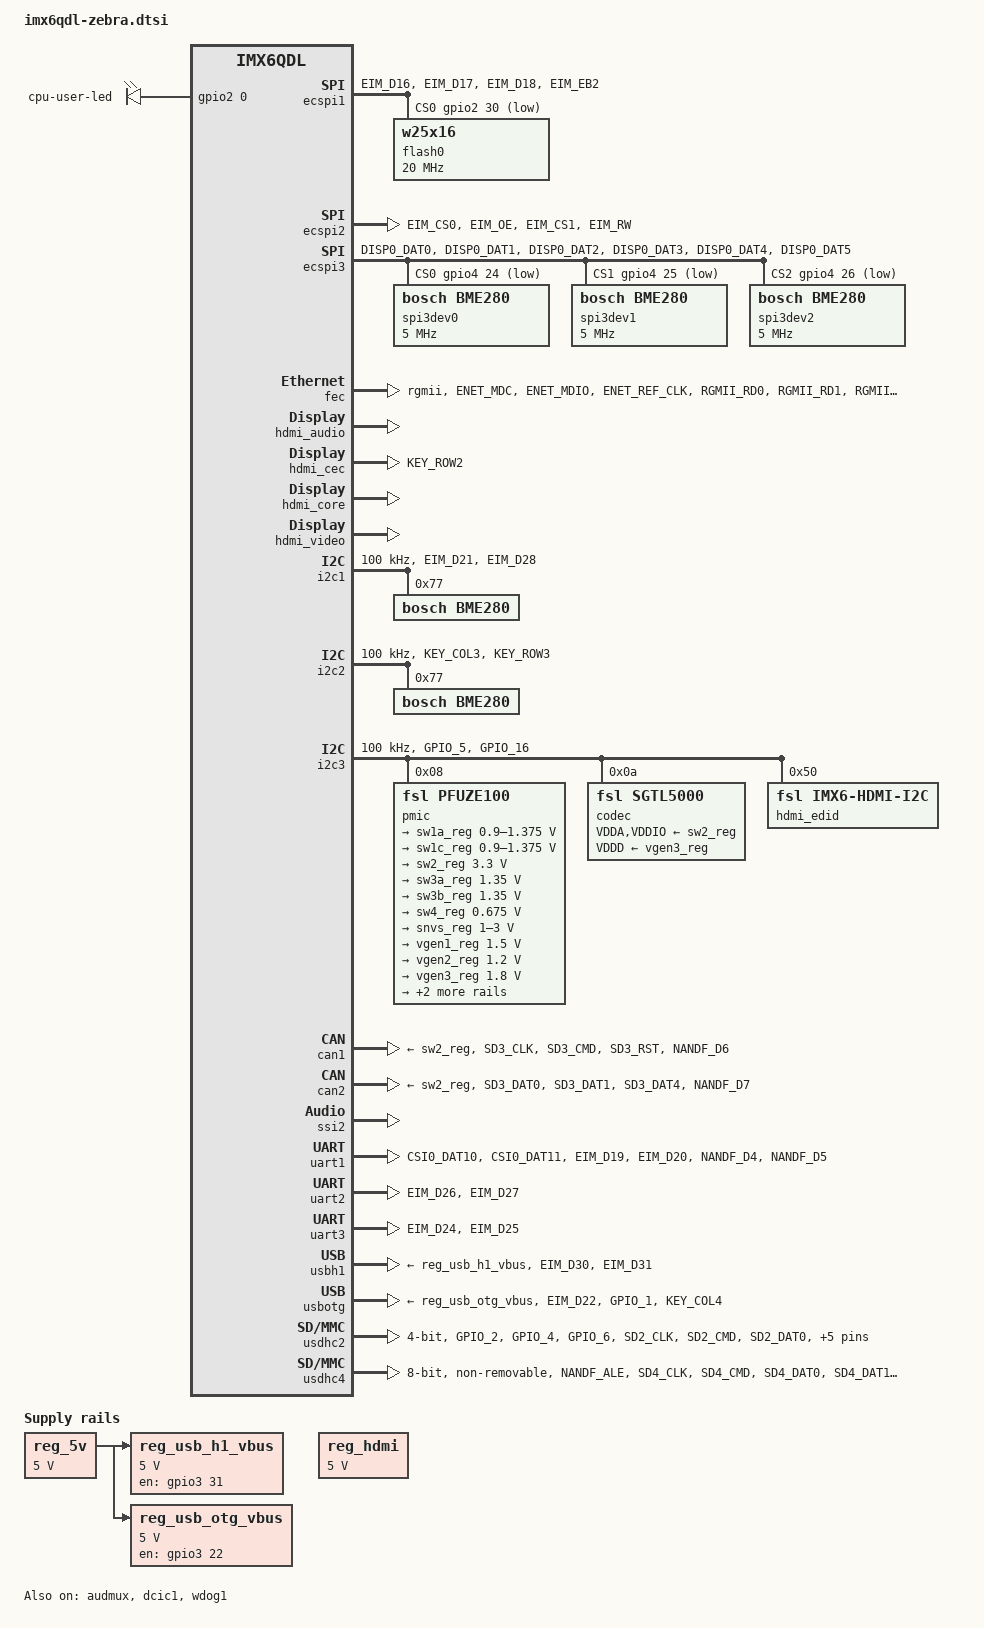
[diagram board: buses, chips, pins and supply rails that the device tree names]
/*
 * Copyright 2012-2016 Freescale Semiconductor, Inc.
 * Copyright 2011 Linaro Ltd.
 *
 * The code contained herein is licensed under the GNU General Public
 * License. You may obtain a copy of the GNU General Public License
 * Version 2 or later at the following locations:
 *
 * http://www.opensource.org/licenses/gpl-license.html
 * http://www.gnu.org/copyleft/gpl.html
 */

#include <dt-bindings/gpio/gpio.h>
#include <dt-bindings/input/input.h>

/ {
	aliases {
		mxcfb0 = &mxcfb1;
                mxcfb1 = &mxcfb2;
	};

	chosen {
		stdout-path = &uart1;
	};

	leds {
		compatible = "gpio-leds";
		cpu-user-led {
			gpios = <&gpio2 0 GPIO_ACTIVE_HIGH>;
			linux,default-trigger = "heartbeat"; /* blink PLED */
			retain-state-suspended;
		};
	};

        regulators {

                compatible = "simple-bus";
                #address-cells = <1>;
                #size-cells = <0>;
  
  
                /* MJ: updates 1/31/18, add a 5V regulator for use as vin-supply for USB and HDMI */
                reg_5v: regulator@0{
                        compatible = "regulator-fixed";
                        reg = <0>;
                        regulator-name = "5V_Supply";
                        regulator-min-microvolt = <5000000>;
                        regulator-max-microvolt = <5000000>;
	  		startup-delay-us = <70000>;
                        regulator-boot-on;
                };
  
                reg_usb_h1_vbus: regulator@1{
                        compatible = "regulator-fixed";
                        reg = <1>;
                        regulator-name = "usb_h1_vbus";
                        regulator-min-microvolt = <5000000>;
                        regulator-max-microvolt = <5000000>;
                        gpio = <&gpio3 31 GPIO_ACTIVE_HIGH>;
                        enable-active-high;
                        vin-supply = <&reg_5v>;
                };
  
                reg_usb_otg_vbus: regulator@2{
                        compatible = "regulator-fixed";
                        reg = <2>;
                        regulator-name = "usb_otg_vbus";
                        regulator-min-microvolt = <5000000>;
                        regulator-max-microvolt = <5000000>;
                        gpio = <&gpio3 22 1>;
                        enable-active-high;
                        vin-supply = <&reg_5v>;
                };
 
                reg_hdmi: regulator@5 {
                        compatible = "regulator-fixed";
                        reg = <5>;
                        regulator-name = "hdmi-5v-supply";
                        regulator-min-microvolt = <5000000>;
                        regulator-max-microvolt = <5000000>;
                        enable-active-high;
                        hdmi-5v-supply = <&reg_5v>;
                };
	};

        sound {
                compatible = "fsl,imx-audio-sgtl5000";
                model = "sgtl5000-audio";
                ssi-controller = <&ssi2>;
                audio-codec = <&codec>;
                audio-routing =
                        "MIC_IN", "Mic Jack",
                        "Mic Jack", "Mic Bias",
                        "Headphone Jack", "HP_OUT";
                mux-int-port = <1>;
                mux-ext-port = <3>;
        };

	sound-hdmi {
		compatible = "fsl,imx6q-audio-hdmi",
			     "fsl,imx-audio-hdmi";
		model = "imx-audio-hdmi";
		hdmi-controller = <&hdmi_audio>;
	};

        mxcfb1: fb@0 {
                compatible = "fsl,mxc_sdc_fb";
                disp_dev = "ldb";
                interface_pix_fmt = "RGB666";
                default_bpp = <16>;
                int_clk = <0>;
                late_init = <0>;
                status = "okay";
        };

        /* HDMI video settings */
        mxcfb2: fb@1 {
                compatible = "fsl,mxc_sdc_fb";
                disp_dev = "hdmi";
                interface_pix_fmt = "RGB24";
                mode_str ="1920x1080M@60";
                default_bpp = <24>;
                int_clk = <0>;
                late_init = <0>;
                status = "okay";
        };

	v4l2_out {
		compatible = "fsl,mxc_v4l2_output";
		status = "okay";
	};

};

&audmux {
	pinctrl-names = "default";
	pinctrl-0 = <&pinctrl_audmux>;
	status = "okay";
};

&cpu0 {
/*
	arm-supply = <&sw1a_reg>;
	soc-supply = <&sw1c_reg>;
*/
};

&ecspi1 {
        fsl,spi-num-chipselects = <1>;
        cs-gpios = <
		&gpio2 30 GPIO_ACTIVE_LOW
		>; 
        pinctrl-names = "default";
        pinctrl-0 = <&pinctrl_ecspi1 &pinctrl_ecspi1_cs>;
        status = "okay";

        flash0: w25x16@0 {
                #address-cells = <1>;
                #size-cells = <1>;
                compatible = "w25x16", "jedec,spi-nor";
                spi-max-frequency = <20000000>;
                reg = <0>;
        };
};

&ecspi2 {
        fsl,spi-num-chipselects = <1>;
        cs-gpios = <
                &gpio2 26 GPIO_ACTIVE_LOW
                >;
        pinctrl-names = "default";
        pinctrl-0 = <&pinctrl_ecspi2 &pinctrl_ecspi2_cs>;
        status = "okay";

	/* test board device */
/*
        mrf24j40ma@0 {
                compatible = "microchip,mrf24j40ma";
                spi-max-frequency = <500000>;
                reg = <0>;
                interrupt-parent = <&gpio5>;
                interrupts = <9 8>;
        };
*/
};

&ecspi3 {

        pinctrl-names = "default";
	fsl,spi-num-chipselects = <3>;
	cs-gpios = <
		&gpio4 24 GPIO_ACTIVE_LOW
		&gpio4 25 GPIO_ACTIVE_LOW
		&gpio4 26 GPIO_ACTIVE_LOW
		>;
        pinctrl-0 = <&pinctrl_ecspi3 &pinctrl_ecspi3_cs>;
        status = "okay";

	/* test board devices */ 
        spi3dev0: spi@0 {
                compatible = "bosch,bme280";
                reg = <0>;
                spi-max-frequency = <5000000>;
        };

        spi3dev1: spi@1 {
                compatible = "bosch,bme280";
                reg = <1>;
                spi-max-frequency = <5000000>;
        };
        spi3dev2: spi@2 {
                compatible = "bosch,bme280";
                reg = <2>;
                spi-max-frequency = <5000000>;
        };
};

&fec {
	pinctrl-names = "default";
	pinctrl-0 = <&pinctrl_enet>;
	phy-mode = "rgmii";
/*
	phy-reset-gpios = <&gpio1 25 GPIO_ACTIVE_LOW>;
	phy-reset-duration = <100>;
*/
	/*fsl,magic-packet;*/
	status = "okay";
        txen-skew-ps = <0>;
        txc-skew-ps = <3000>;
        rxdv-skew-ps = <0>;
        rxc-skew-ps = <3000>;
        rxd0-skew-ps = <0>;
        rxd1-skew-ps = <0>;
        rxd2-skew-ps = <0>;
        rxd3-skew-ps = <0>;
        txd0-skew-ps = <0>;
        txd1-skew-ps = <0>;
        txd2-skew-ps = <0>;
        txd3-skew-ps = <0>;
};

&gpc {
	fsl,ldo-bypass = <1>; /* use ldo-bypass, u-boot will check it and configure */
	fsl,wdog-reset = <2>; /* watchdog select of reset source */
};

&dcic1 {
	dcic_id = <0>;
	dcic_mux = "dcic-hdmi";
	status = "okay";
};

&hdmi_audio {
	status = "okay";
};

&hdmi_cec {
	pinctrl-names = "default";
	pinctrl-0 = <&pinctrl_hdmi_cec>;
	status = "okay";
};

&hdmi_core {
	ipu_id = <0>;
	disp_id = <0>;
	status = "okay";
};

&hdmi_video {
	fsl,phy_reg_vlev = <0x0294>;
	fsl,phy_reg_cksymtx = <0x800d>;
	HDMI-supply = <&reg_hdmi>; /* 5V */
	status = "okay";
};

&i2c1 {
	clock-frequency = <100000>;
	pinctrl-names = "default";
	pinctrl-0 = <&pinctrl_i2c1>;
	status = "okay";

	/* test board device */
        bme280@77 {
                compatible = "bosch,bme280";
                reg = <0x77>;
        };
};

&i2c2 {
	clock-frequency = <100000>;
	pinctrl-names = "default";
	pinctrl-0 = <&pinctrl_i2c2>;
	status = "okay";

	/* test board device */
        bme280@77 {
                compatible = "bosch,bme280";
                reg = <0x77>;
        };

};

&i2c3 {
	clock-frequency = <100000>;
	pinctrl-names = "default";
	pinctrl-0 = <&pinctrl_i2c3>;
	status = "okay";

	pmic: pfuze100@08 {
		compatible = "fsl,pfuze100";
		reg = <0x08>;

           regulators {

                /* SW1AB = V1P375_CORE, sequence #2 */
                sw1a_reg: sw1ab {
                     regulator-min-microvolt = <900000>;
                     regulator-max-microvolt = <1375000>;
                     regulator-boot-on;
                     regulator-always-on;
                };

                /* SW1C = V1P375_SOC, sequence #3 */
                sw1c_reg: sw1c {
                     regulator-min-microvolt = <900000>;
                     regulator-max-microvolt = <1375000>;
                     regulator-boot-on;
                     regulator-always-on;
                };

                /* SW2 = V3P3, sequence #6 */
                sw2_reg: sw2 {
                     regulator-min-microvolt = <3300000>;
                     regulator-max-microvolt = <3300000>;
                     regulator-boot-on;
                     regulator-always-on;
                };

                /* SW3A and SW3B = V1P35_DDR, sequence #4 */
                sw3a_reg: sw3a {
                     regulator-min-microvolt = <1350000>;
                     regulator-max-microvolt = <1350000>;
                     regulator-boot-on;
                     regulator-always-on;
                };

                /* SW3A and SW3B = V1P35_DDR, sequence #4 */
                sw3b_reg: sw3b {
                     regulator-min-microvolt = <1350000>;
                     regulator-max-microvolt = <1350000>;
                     regulator-boot-on;
                     regulator-always-on;
                };

                /* SW4 = V0P675_DDR_VTT = 0.5(SW3A) when VTT = Enabled, sequence #4 */
                sw4_reg: sw4 {
                     regulator-min-microvolt = <675000>;
                     regulator-max-microvolt = <675000>;
                     regulator-boot-on;
                     regulator-always-on;
                };

                /* SWBST (NOT USED), sequence #0 */

                /* VSNVS = V3_VSNVS (Coin Cell/LDO in PMIC), not sequenced */
                /* Always on per battery or on per Vin */
                snvs_reg: vsnvs {
                     regulator-min-microvolt = <1000000>;
                     regulator-max-microvolt = <3000000>;
                     regulator-boot-on;
                     regulator-always-on;
                };

                /* VREFDDR = V0P675_DDR_VREF, sequence #4 */
                vref_reg: vrefddr {
                     regulator-boot-on;
                     regulator-always-on;
                };

                /* VGEN1 = V1P5_MINI, sequence #31 */
                /* last rail to turn on, delays reset release */
                vgen1_reg: vgen1 {
                     regulator-min-microvolt = <1500000>;
                     regulator-max-microvolt = <1500000>;
                     /*regulator-boot-on;*/
                     /*regulator-always-on;*/
				
				/* Suspend-to-RAM allows for turning off ??? */
				/*regulator-state-mem {
					regulator-off-in-suspend;
				};
                           */
				/* Suspend-to-DISK allows for turning off ??? */
				/*regulator-state-disk {
					regulator-off-in-suspend;
				};
                           */
			};
                /* VGEN2 = V1P2_ETH, sequence #9 */
                vgen2_reg: vgen2 {
                     regulator-min-microvolt = <1200000>;
                     regulator-max-microvolt = <1200000>;
                     regulator-boot-on;
                     regulator-always-on;
                };

                /* VGEN3 = V1P8_AUDIO, sequence #6 */
                vgen3_reg: vgen3 {
                     regulator-min-microvolt = <1800000>;
                     regulator-max-microvolt = <1800000>;
                     regulator-boot-on;
                     regulator-always-on;
                };

                /* VGEN4 (NOT USED), sequence #0 */

                /* VGEN5 = V2P5_ETH, sequence #8 */
                vgen5_reg: vgen5 {
                     regulator-min-microvolt = <2500000>;
                     regulator-max-microvolt = <2500000>;
                     regulator-boot-on;
                     regulator-always-on;
                };

                /* VGEN6 = V3_ALWAYS, sequence #1 */
                vgen6_reg: vgen6 {
                     regulator-min-microvolt = <3000000>;
                     regulator-max-microvolt = <3000000>;
                     regulator-boot-on;
                     regulator-always-on;
                };
	    };
	};

        codec: sgtl5000@0a {
                compatible = "fsl,sgtl5000";
                reg = <0x0a>;
                clocks = <&clks 201>;
                VDDA-supply = <&sw2_reg>;
                VDDIO-supply = <&sw2_reg>;
                VDDD-supply = <&vgen3_reg>;
        };
/* Uncomment if board has acclerometer
        fxos8700@1c {
                compatible = "fsl,fxos8700";
                reg = <0x1c>;
        };
*/
/*
        lsm303d@1e {
                compatible = "st,lsm303d";
                reg = <0x1e>;
        };
*/

        hdmi_edid: edid@50 {
                compatible = "fsl,imx6-hdmi-i2c";
                reg = <0x50>;
        };

};

&can1 {
        pinctrl-names = "default";
        pinctrl-0 = <&pinctrl_flexcan1>;
	xceiver-supply = <&sw2_reg>; 
        status = "okay";
};

&can2 {
        pinctrl-names = "default";
        pinctrl-0 = <&pinctrl_flexcan2>;
	xceiver-supply = <&sw2_reg>; 
        status = "okay";
};


&iomuxc {
	pinctrl-names = "default";
	pinctrl-0 = <&pinctrl_hog>;
	
	imx6qdl-zebra {
		pinctrl_hog: hoggrp {
			fsl,pins = <
				/* UNUSED PINS -- set drivers = Hi-z and enable 100k pull res */
				MX6QDL_PAD_CSI0_DAT12__GPIO5_IO30	0x0000B000
				MX6QDL_PAD_CSI0_DAT13__GPIO5_IO31	0x0000B000
				MX6QDL_PAD_CSI0_DAT14__GPIO6_IO00	0x0000B000
				MX6QDL_PAD_CSI0_DAT15__GPIO6_IO01	0x0000B000
				MX6QDL_PAD_CSI0_DAT16__GPIO6_IO02	0x0000B000
				MX6QDL_PAD_CSI0_DAT17__GPIO6_IO03	0x0000B000
				MX6QDL_PAD_CSI0_DAT18__GPIO6_IO04	0x0000B000
				MX6QDL_PAD_CSI0_DAT19__GPIO6_IO05	0x0000B000
				MX6QDL_PAD_CSI0_DAT4__GPIO5_IO22	0x0000B000
				MX6QDL_PAD_CSI0_DAT5__GPIO5_IO23	0x0000B000
				MX6QDL_PAD_CSI0_DAT6__GPIO5_IO24	0x0000B000
				MX6QDL_PAD_CSI0_DAT7__GPIO5_IO25	0x0000B000
				MX6QDL_PAD_CSI0_DAT8__GPIO5_IO26	0x0000B000
				MX6QDL_PAD_CSI0_DAT9__GPIO5_IO27	0x0000B000
				MX6QDL_PAD_CSI0_DATA_EN__GPIO5_IO20	0x0000B000
				MX6QDL_PAD_CSI0_MCLK__GPIO5_IO19	0x0000B000
				MX6QDL_PAD_CSI0_VSYNC__GPIO5_IO21	0x0000B000
				MX6QDL_PAD_DI0_DISP_CLK__GPIO4_IO16	0x0000B000
				MX6QDL_PAD_DI0_PIN15__GPIO4_IO17	0x0000B000
				MX6QDL_PAD_DI0_PIN3__GPIO4_IO19		0x0000B000
				MX6QDL_PAD_DI0_PIN4__GPIO4_IO20		0x0000B000
				MX6QDL_PAD_DISP0_DAT11__GPIO5_IO05	0x0000B000
				MX6QDL_PAD_DISP0_DAT13__GPIO5_IO07	0x0000B000
				MX6QDL_PAD_DISP0_DAT14__GPIO5_IO08	0x0000B000
				MX6QDL_PAD_DISP0_DAT16__GPIO5_IO10	0x0000B000
				MX6QDL_PAD_DISP0_DAT17__GPIO5_IO11	0x0000B000
				MX6QDL_PAD_DISP0_DAT18__GPIO5_IO12	0x0000B000
				MX6QDL_PAD_DISP0_DAT19__GPIO5_IO13	0x0000B000
				MX6QDL_PAD_DISP0_DAT20__GPIO5_IO14	0x0000B000
				MX6QDL_PAD_DISP0_DAT21__GPIO5_IO15	0x0000B000
				MX6QDL_PAD_DISP0_DAT23__GPIO5_IO17	0x0000B000
				MX6QDL_PAD_DISP0_DAT6__GPIO4_IO27	0x0000B000
				MX6QDL_PAD_DISP0_DAT7__GPIO4_IO28	0x0000B000
				MX6QDL_PAD_EIM_A16__GPIO2_IO22		0x0000B000
				MX6QDL_PAD_EIM_A17__GPIO2_IO21		0x0000B000
				MX6QDL_PAD_EIM_A18__GPIO2_IO20		0x0000B000
				MX6QDL_PAD_EIM_A19__GPIO2_IO19		0x0000B000
				MX6QDL_PAD_EIM_A20__GPIO2_IO18		0x0000B000
				MX6QDL_PAD_EIM_A21__GPIO2_IO17		0x0000B000
				MX6QDL_PAD_EIM_A22__GPIO2_IO16		0x0000B000
				MX6QDL_PAD_EIM_A23__GPIO6_IO06		0x0000B000
				MX6QDL_PAD_EIM_A24__GPIO5_IO04		0x0000B000
				MX6QDL_PAD_EIM_BCLK__GPIO6_IO31		0x0000B000
				MX6QDL_PAD_EIM_D23__GPIO3_IO23		0x0000B000
				MX6QDL_PAD_EIM_D29__GPIO3_IO29		0x0000B000
				MX6QDL_PAD_EIM_DA0__GPIO3_IO00		0x0000B000
				MX6QDL_PAD_EIM_DA1__GPIO3_IO01		0x0000B000
				MX6QDL_PAD_EIM_DA10__GPIO3_IO10		0x0000B000
				MX6QDL_PAD_EIM_DA11__GPIO3_IO11		0x0000B000
				MX6QDL_PAD_EIM_DA12__GPIO3_IO12		0x0000B000
				MX6QDL_PAD_EIM_DA13__GPIO3_IO13		0x0000B000
				MX6QDL_PAD_EIM_DA14__GPIO3_IO14		0x0000B000
				MX6QDL_PAD_EIM_DA15__GPIO3_IO15		0x0000B000
				MX6QDL_PAD_EIM_DA2__GPIO3_IO02		0x0000B000
				MX6QDL_PAD_EIM_DA3__GPIO3_IO03		0x0000B000
				MX6QDL_PAD_EIM_DA4__GPIO3_IO04		0x0000B000
				MX6QDL_PAD_EIM_DA5__GPIO3_IO05		0x0000B000
				MX6QDL_PAD_EIM_DA6__GPIO3_IO06		0x0000B000
				MX6QDL_PAD_EIM_DA7__GPIO3_IO07		0x0000B000
				MX6QDL_PAD_EIM_DA8__GPIO3_IO08		0x0000B000
				MX6QDL_PAD_EIM_DA9__GPIO3_IO09		0x0000B000
				MX6QDL_PAD_EIM_EB0__GPIO2_IO28		0x0000B000
				MX6QDL_PAD_EIM_EB1__GPIO2_IO29		0x0000B000
				MX6QDL_PAD_EIM_EB3__GPIO2_IO31		0x0000B000
				MX6QDL_PAD_EIM_LBA__GPIO2_IO27		0x0000B000
				MX6QDL_PAD_EIM_WAIT__GPIO5_IO00		0x0000B000
				MX6QDL_PAD_ENET_RX_ER__GPIO1_IO24	0x0000B000
				MX6QDL_PAD_ENET_RXD0__GPIO1_IO27	0x0000B000
				MX6QDL_PAD_ENET_TXD0__GPIO1_IO30	0x0000B000
				MX6QDL_PAD_ENET_TXD1__GPIO1_IO29	0x0000B000
				MX6QDL_PAD_GPIO_17__GPIO7_IO12		0x0000B000
				MX6QDL_PAD_GPIO_18__GPIO7_IO13		0x0000B000
				MX6QDL_PAD_GPIO_19__GPIO4_IO05		0x0000B000
				MX6QDL_PAD_GPIO_7__GPIO1_IO07		0x0000B000
				MX6QDL_PAD_KEY_COL2__GPIO4_IO10		0x0000B000
				MX6QDL_PAD_KEY_ROW4__GPIO4_IO15		0x0000B000
				MX6QDL_PAD_NANDF_CS0__GPIO6_IO11	0x0000B000
				MX6QDL_PAD_NANDF_CS1__GPIO6_IO14	0x0000B000
				MX6QDL_PAD_NANDF_CS2__GPIO6_IO15	0x0000B000
				MX6QDL_PAD_NANDF_D1__GPIO2_IO01		0x0000B000
				MX6QDL_PAD_NANDF_D2__GPIO2_IO02		0x0000B000
				MX6QDL_PAD_NANDF_D3__GPIO2_IO03		0x0000B000
				MX6QDL_PAD_NANDF_RB0__GPIO6_IO10	0x0000B000
				MX6QDL_PAD_NANDF_WP_B__GPIO6_IO09	0x0000B000
				MX6QDL_PAD_SD3_DAT3__GPIO7_IO07		0x0000B000
				MX6QDL_PAD_SD3_DAT5__GPIO7_IO00		0x0000B000
				MX6QDL_PAD_SD3_DAT6__GPIO6_IO18		0x0000B000
				MX6QDL_PAD_SD3_DAT7__GPIO6_IO17		0x0000B000
				
                                /* Programmable LED output for User I/O */
				MX6QDL_PAD_NANDF_D0__GPIO2_IO00            0x0001B018
  
                                /* Updated for TP, pull-down, 90 Ohm, slow slew */
                                MX6QDL_PAD_CSI0_PIXCLK__ARM_EVENTO         0x00013098 
                                /* Updated for TP */
                                MX6QDL_PAD_GPIO_3__XTALOSC_REF_CLK_24M     0x00013098 
                                /* Updated for TP */
                                MX6QDL_PAD_GPIO_8__XTALOSC_REF_CLK_32K     0x00013098 
                                /* COMP_IRQ# input, update to pull-up (off by default)*/
				MX6QDL_PAD_DI0_PIN2__GPIO4_IO18            0x0001B0B0
                                /* PMIC_INT# input (pull-up = off by default) */
				MX6QDL_PAD_DISP0_DAT12__GPIO5_IO06         0x0001B0B0

                                /* was USB_HUB_RST# out for Tetra, NC for Zebra */
				/* 0x0000B000 assignment is only pull-up enabled */
				MX6QDL_PAD_DISP0_DAT22__GPIO5_IO16         0x0000B000

                                /* SOC_RSTOUT# out (pull-up = off by default) */
 				MX6QDL_PAD_EIM_A25__GPIO5_IO02             0x0001B030
   
                                /* LVDS control/status signals on Tetra, Zebra No Connects */                        				/* GPIO6_IO16 is LVDS_PANEL_PWREN output for Tetra, NC for Zebra */
                                MX6QDL_PAD_NANDF_CS3__GPIO6_IO16 0x0000B000 /* 100k pull-up only */
                                /* GPIO6_IO07 is PG_V3P3_LVDS input for Tetra, NC for Zebra */
				MX6QDL_PAD_NANDF_CLE__GPIO6_IO07 0x0000B000 /* 100k pull-up only */

                                /* section for multifunction pins. Choose one function for each pin
                                   
                                /* PIN1: GPIO1/GPT_OUT1/PWM_OUT4 */
                                MX6QDL_PAD_SD1_CMD__GPIO1_IO18             0x0001B018 /* GPIO 1 */
                                /* MX6QDL_PAD_SD1_CMD__PWM4_OUT               0x0001B018 */ /* PWM_OUT4 */
                                /* MX6QDL_PAD_SD1_CMD__GPT_COMPARE1           0x0001B018 */ /* GPT_OUT1 */

				/* PIN2: GPIO2/GPT_IN1 */
                                MX6QDL_PAD_SD1_DAT0__GPIO1_IO16            0x0001B018 /* GPIO 2 */
                                /* MX6QDL_PAD_SD1_DAT0__GPT_CAPTURE1          0x0001B018 */ /* GPT_IN1 */

				/* PIN3: GPIO3/GPT_IN2/PWM_OUT3 */
                                MX6QDL_PAD_SD1_DAT1__GPIO1_IO17            0x0001B018 /* GPIO 3 */
                                /* MX6QDL_PAD_SD1_DAT1__PWM3_OUT              0x0001B018 */ /* PWM_OUT3 */
                                /* MX6QDL_PAD_SD1_DAT1__GPT_CAPTURE2          0x0001B018 */ /* GPT_IN2 */

				/* PIN4: GPIO4/GPT_OUT2/WDOG1_RST# */
                                MX6QDL_PAD_SD1_DAT2__GPIO1_IO19            0x0001B018 /* GPIO 4 */
                                /* MX6QDL_PAD_SD1_DAT2__GPT_COMPARE2          0x0001B018 */ /* GPT_OUT2 */
                                /* MX6QDL_PAD_SD1_DAT2__WDOG1_RESET_B_DEB     0x0001B018 */ /* WDOG1_RST# */

				/* PIN5: GPIO5/GPT_CLKIN */
                                MX6QDL_PAD_SD1_CLK__GPIO1_IO20             0x0001B018 /* GPIO 5 */
                                /* MX6QDL_PAD_SD1_CLK__GPT_CLKIN              0x0001B018 */ /* GPT_CLKIN */

				/* PIN6: GPIO 6 */
                                MX6QDL_PAD_DISP0_DAT10__GPIO4_IO31         0x0001B018 /* GPIO 6 */

				/* PIN7: GPIO7/PWM_OUT2/WDOG2# */
                                MX6QDL_PAD_DISP0_DAT9__GPIO4_IO30          0x0001B018 /* GPIO 7 */
                                /* MX6QDL_PAD_DISP0_DAT9__PWM2_OUT            0x0001B018 */ /*PWM_OUT2 */
				/* MX6QDL_PAD_DISP0_DAT9__WDOG2_B            0x0001B018 */ /*WDOG2# */

				/* PIN8: GPIO 8 */
                                MX6QDL_PAD_DISP0_DAT8__GPIO4_IO29          0x0001B018 /* GPIO 8 */

                                /* GP_IRQ#, set as open drain (might have mult. drivers) */
                                MX6QDL_PAD_DISP0_DAT15__GPIO5_IO09         0x0001B818 

				/* MIKRO_GPIO, pull-up (was CSI_GPIO0 with pull-down on Tetra) */
				MX6QDL_PAD_SD3_DAT2__GPIO7_IO06 0x00013098 /* noted as IO1 on Zebra mikroBUS, default to GPIO with pull-down */

			>;
		};

		pinctrl_flexcan1: flexcan1grp {
			fsl,pins = <
				MX6QDL_PAD_SD3_CLK__FLEXCAN1_RX            0x0001B098
				MX6QDL_PAD_SD3_CMD__FLEXCAN1_TX            0x0001B098
				/* currently unused CAN transceiver control signals */
                                /* set to 100k pull-down, 90 Ohm, low spd, slow slew */ 
                                /* FLEXCAN1_STBY */ 
				MX6QDL_PAD_SD3_RST__GPIO7_IO08             0x00013018
                                /* FLEXCAN1_CTRL */
				MX6QDL_PAD_NANDF_D6__GPIO2_IO06            0x00013018
			>;
		};

                pinctrl_flexcan2: flexcan2grp {
                        fsl,pins = <
                                /* updated for 90 Ohm setting (50 Ohm @ 3.3V)*/
				MX6QDL_PAD_SD3_DAT0__FLEXCAN2_TX           0x0001B098
				MX6QDL_PAD_SD3_DAT1__FLEXCAN2_RX           0x0001B098
				/* currently unused CAN transceiver control signals */
                                /* set to 100k pull-down, 90 Ohm, low spd, slow slew */ 
                                /* FLEXCAN2_STBY */ 
				MX6QDL_PAD_SD3_DAT4__GPIO7_IO01            0x00013018
                                /* FLEXCAN2_CTRL */
				MX6QDL_PAD_NANDF_D7__GPIO2_IO07            0x00013018
			>;
		};

		/*  MJ 2/1/17 changes to pin control (drive strength) */
		pinctrl_audmux: audmuxgrp {
			fsl,pins = <
                                /* MJ - moved CLK_AUD here */
                                /* set all to pull-downs 100k like Sabresd */
				MX6QDL_PAD_GPIO_0__CCM_CLKO1               0x000130B0
        			MX6QDL_PAD_KEY_COL0__AUD5_TXC              0x000130B0
				MX6QDL_PAD_KEY_COL1__AUD5_TXFS             0x00013098 
				MX6QDL_PAD_KEY_ROW0__AUD5_TXD	           0x00013098            
				MX6QDL_PAD_KEY_ROW1__AUD5_RXD              0x00013098 
			>;
		};

		pinctrl_ecspi1: ecspi1grp {
			fsl,pins = <
                                /* set fast slew, 33 Ohm driver, pull-down */
				MX6QDL_PAD_EIM_D16__ECSPI1_SCLK            0x000130B9
				MX6QDL_PAD_EIM_D17__ECSPI1_MISO            0x00013099
				MX6QDL_PAD_EIM_D18__ECSPI1_MOSI            0x00013099
			>;
		};
		pinctrl_ecspi1_cs: ecspi1cs {
                        fsl,pins = <
				MX6QDL_PAD_EIM_EB2__GPIO2_IO30		   0x0001B098
                        >;
                };

                pinctrl_ecspi2: ecspi2grp {
                        fsl,pins = <
                                /* set fast slew, 33 Ohm driver, pull-down */
                                MX6QDL_PAD_EIM_CS0__ECSPI2_SCLK            0x000130B9
                                MX6QDL_PAD_EIM_OE__ECSPI2_MISO             0x00013099
                                MX6QDL_PAD_EIM_CS1__ECSPI2_MOSI            0x00013099
                        >;
                };
                pinctrl_ecspi2_cs: ecspi2cs {
                        fsl,pins = <
                                MX6QDL_PAD_EIM_RW__GPIO2_IO26             0x0001B098
                        >;
                };

                pinctrl_ecspi3: ecspi3grp {
                        fsl,pins = <
                                /* set fast slew, 33 Ohm driver, pull-down */
                                MX6QDL_PAD_DISP0_DAT0__ECSPI3_SCLK         0x000130B9
                                MX6QDL_PAD_DISP0_DAT1__ECSPI3_MOSI         0x00013099
                                MX6QDL_PAD_DISP0_DAT2__ECSPI3_MISO         0x00013099
                        >;
                };
                pinctrl_ecspi3_cs: ecspi3cs {
                        fsl,pins = <
                                MX6QDL_PAD_DISP0_DAT3__GPIO4_IO24          0x0001B098
                                MX6QDL_PAD_DISP0_DAT4__GPIO4_IO25          0x0001B098
                                MX6QDL_PAD_DISP0_DAT5__GPIO4_IO26          0x0001B098
                        >;
                };

		/*  MJ changes to pin control for all I2C (lower drive strength 90 Ohm) 
		 *  I2C pinctrl settings go from 0x4001b8b1 to 0x4001b899 */
		pinctrl_i2c1: i2c1grp {
			fsl,pins = <
				MX6QDL_PAD_EIM_D21__I2C1_SCL               0x4001b899
				MX6QDL_PAD_EIM_D28__I2C1_SDA               0x4001b899			
			>;
		};

		pinctrl_i2c2: i2c2grp {
			fsl,pins = <
				MX6QDL_PAD_KEY_COL3__I2C2_SCL              0x4001b899
				MX6QDL_PAD_KEY_ROW3__I2C2_SDA              0x4001b899
			 >;
		};

                pinctrl_i2c3: i2c3grp {
                        fsl,pins = <
                                MX6QDL_PAD_GPIO_5__I2C3_SCL                0x4001b899
                                MX6QDL_PAD_GPIO_16__I2C3_SDA               0x4001b899
                        >;
                };

		/*  MJ changes to pin control for ENET_MDIO (lower drive strength 60 Ohm) 
              *  and ENET_CRS_DV (RGMII_RST#) set as open-drain output with pull-up */
		pinctrl_enet: enetgrp {
			fsl,pins = <
				MX6QDL_PAD_ENET_MDC__ENET_MDC              0x0001B0B0
				MX6QDL_PAD_ENET_MDIO__ENET_MDIO            0x0001B0A0
				MX6QDL_PAD_ENET_REF_CLK__ENET_TX_CLK       0x0001B0B0
				MX6QDL_PAD_RGMII_RD0__RGMII_RD0            0x0001B030
				MX6QDL_PAD_RGMII_RD1__RGMII_RD1            0x0001B030
				MX6QDL_PAD_RGMII_RD2__RGMII_RD2            0x0001B030
				MX6QDL_PAD_RGMII_RD3__RGMII_RD3            0x0001B030
				MX6QDL_PAD_RGMII_RXC__RGMII_RXC            0x00013030
				MX6QDL_PAD_RGMII_RX_CTL__RGMII_RX_CTL      0x00013030
				MX6QDL_PAD_RGMII_TD0__RGMII_TD0            0x0001B030
				MX6QDL_PAD_RGMII_TD1__RGMII_TD1            0x0001B030
				MX6QDL_PAD_RGMII_TD2__RGMII_TD2            0x0001B030
				MX6QDL_PAD_RGMII_TD3__RGMII_TD3            0x0001B030
				MX6QDL_PAD_RGMII_TXC__RGMII_TXC            0x00013030
				MX6QDL_PAD_RGMII_TX_CTL__RGMII_TX_CTL      0x00013030
                                /* RGMII_RST#, preserve u-boot pad control like SabreSD */
				MX6QDL_PAD_ENET_CRS_DV__GPIO1_IO25         0x80000000
				/* RGMII_INT# and RGMII_INT#_STATUS inputs respectively (GPIO)*/
                                MX6QDL_PAD_ENET_RXD1__GPIO1_IO26           0x0001B0B0
                                MX6QDL_PAD_ENET_TX_EN__GPIO1_IO28          0x0001B0B0
				MX6QDL_PAD_SD1_DAT3__GPIO1_IO21            0x000130A9
			>;
		};

		pinctrl_hdmi_cec: hdmicecgrp {
			fsl,pins = <
				MX6QDL_PAD_KEY_ROW2__HDMI_TX_CEC_LINE      0x00010898
			>;
		};

		pinctrl_pwm1: pwm1grp {
			fsl,pins = <
				/* MIKRO_PWMO: Fast slew, 90 Ohm, Medium speed settings */
				/*MX6QDL_PAD_SD1_DAT3__PWM1_OUT              0x0001B099 */
			>;
		};

		pinctrl_usbotg: usbotggrp {
			fsl,pins = <
				/* MX6QDL_PAD_EIM_D22__USB_OTG_PWR            0x00013098*/
                                MX6QDL_PAD_EIM_D22__GPIO3_IO22  	   0x010b0 
				MX6QDL_PAD_GPIO_1__USB_OTG_ID              0x10759 /*0x0001B0B0*/
				MX6QDL_PAD_KEY_COL4__USB_OTG_OC            0x0001B0B0
			>;
		};

                pinctrl_usbh1: usbh1grp {
                        fsl,pins = <
                                MX6QDL_PAD_EIM_D30__USB_H1_OC              0x0001B0B0
	                        /*MX6QDL_PAD_EIM_D31__USB_H1_PWR             0x0001B098*/
				MX6QDL_PAD_EIM_D31__GPIO3_IO31             0x010b0
                        >;
                };
		
             /* MJ: default = 0x0001B0B0, update some to lower drive strength and  
                slow down the speed (Set to Slow instead of default of Medium) */
		pinctrl_uart1: uart1grp {
			fsl,pins = <
				MX6QDL_PAD_CSI0_DAT10__UART1_TX_DATA       0x0001B018
				MX6QDL_PAD_CSI0_DAT11__UART1_RX_DATA       0x0001B018
                                MX6QDL_PAD_EIM_D19__UART1_CTS_B            0x0001B018
                                MX6QDL_PAD_EIM_D20__UART1_RTS_B            0x0001B018
                                /* RS-232 transceiver signals for COM1/serial debug port */
                                /* XCVR1_RXEN#, pull-down to auto-enable */
				MX6QDL_PAD_NANDF_D4__GPIO2_IO04            0x00013018
                                /* XCVR1_SHDN#, pull-up to disable shutdown of device */
				MX6QDL_PAD_NANDF_D5__GPIO2_IO05            0x0001B018
			>;
		};

		/* MJ: need to set these up for DTE mode matching, imx6dl-pinfunc.h naming convention info sets 
		 * up the IOMUXC_UART2_UART_RX_DATA_SELECT_INPUT accordingly when named this way, so all that
		 * is left is to set this UART in DTE mode */
                pinctrl_uart2: uart2grp {
                        fsl,pins = <
                                MX6QDL_PAD_EIM_D26__UART2_RX_DATA          0x0001B018  /* input for DTE mode */
                                MX6QDL_PAD_EIM_D27__UART2_TX_DATA          0x0001B018  /* output for DTE mode */

                        >;
                };

           /* MJ: default = 0x0001B0B0, update some to lower drive strength and  
              slow down the speed (Set to Slow instead of default of Medium) */
		pinctrl_uart3: uart3grp {
			fsl,pins = <
				MX6QDL_PAD_EIM_D24__UART3_TX_DATA          0x0001B018
				MX6QDL_PAD_EIM_D25__UART3_RX_DATA          0x0001B018

			>;
		};
		
		pinctrl_usdhc2: usdhc2grp {
			fsl,pins = <
				MX6QDL_PAD_GPIO_2__SD2_WP                  0x0001B098
				MX6QDL_PAD_GPIO_4__SD2_CD_B                0x0001B098
				MX6QDL_PAD_GPIO_6__SD2_LCTL                0x0001B098
				MX6QDL_PAD_SD2_CLK__SD2_CLK                0x0001B0B1
				MX6QDL_PAD_SD2_CMD__SD2_CMD                0x0001B0B1
				MX6QDL_PAD_SD2_DAT0__SD2_DATA0             0x0001B098
				MX6QDL_PAD_SD2_DAT1__SD2_DATA1             0x0001B098
				MX6QDL_PAD_SD2_DAT2__SD2_DATA2             0x0001B098
				MX6QDL_PAD_SD2_DAT3__SD2_DATA3             0x0001B098
			>;
		};

		pinctrl_usdhc4: usdhc4grp {
			fsl,pins = <
				MX6QDL_PAD_NANDF_ALE__SD4_RESET            0x0001B098
				MX6QDL_PAD_SD4_CLK__SD4_CLK                0x0001B0B1
				MX6QDL_PAD_SD4_CMD__SD4_CMD                0x0001B0B1
				MX6QDL_PAD_SD4_DAT0__SD4_DATA0             0x0001B098
				MX6QDL_PAD_SD4_DAT1__SD4_DATA1             0x0001B098
				MX6QDL_PAD_SD4_DAT2__SD4_DATA2             0x0001B098
				MX6QDL_PAD_SD4_DAT3__SD4_DATA3             0x0001B098
				MX6QDL_PAD_SD4_DAT4__SD4_DATA4             0x0001B098
				MX6QDL_PAD_SD4_DAT5__SD4_DATA5             0x0001B098
				MX6QDL_PAD_SD4_DAT6__SD4_DATA6             0x0001B098
				MX6QDL_PAD_SD4_DAT7__SD4_DATA7             0x0001B098
 			>;
		};

           /* MJ: default = 0x0001B0B0, update some to lower drive strength and  
              slow down the speed (Set to Slow instead of default of Medium) */
		pinctrl_wdog: wdoggrp {
			fsl,pins = <
				MX6QDL_PAD_GPIO_9__WDOG1_B                 0x0001B018
			>;
		};
	};

};

&mipi_csi {

	status = "disabled";

};
&mipi_dsi {

	status = "disabled";

};

/* Set pwm to okay if enabled in pin mux settings */
&pwm1 {
	pinctrl-names = "default";
	pinctrl-0 = <&pinctrl_pwm1>;
	status = "disabled";
};

&pwm2 {
        status = "disabled";
};

&pwm3 {
        status = "disabled";
};

&pwm4 {
        status = "disabled";
};



/* Add these supply assignments from the Sabre SD board imx6qdl-sabresd.dtsi */
/* "&reg_*" names are used in imx6q.dtsi but get set up in our board file */ 
&reg_arm {
       vin-supply = <&sw1a_reg>;
};

&reg_pu {
       vin-supply = <&sw1c_reg>;
};

&reg_soc {
       vin-supply = <&sw1c_reg>;
};
&snvs_poweroff {
	status = "okay"; /* set to disable to disable PMIC control from iMX6 */
};


&ssi2 {
        fsl,mode = "i2s-master";
        status = "okay";
};
/*
&ssi2 {
	fsl,mode = "i2s-slave";
	status = "okay";
};
*/

&uart1 {
	pinctrl-names = "default";
	pinctrl-0 = <&pinctrl_uart1>;
	fsl,uart-has-rtscts;
	/*fsl,dte-mode;*/
	status = "okay";
};

&uart2 {
        pinctrl-names = "default";
        pinctrl-0 = <&pinctrl_uart2>;
        fsl,dte-mode;
        status = "okay";
};

&uart3 {
	pinctrl-names = "default";
	pinctrl-0 = <&pinctrl_uart3>;
        /*fsl,dte-mode;*/
	status = "okay";
};

&usbh1 {
	vbus-supply = <&reg_usb_h1_vbus>;
/*        dr_mode = "host"; */
        disable-over-current;
        pinctrl-names = "default";
        pinctrl-0 = <&pinctrl_usbh1>;
	status = "okay";
};

&usbotg {
	vbus-supply = <&reg_usb_otg_vbus>;
	pinctrl-names = "default";
	pinctrl-0 = <&pinctrl_usbotg>;
	disable-over-current;
	srp-disable;
	hnp-disable;
	adp-disable;
	status = "okay";
};

&usbphy1 {
     /* Default 0x7 is nominal resistor trimming setting, SabreSD uses 0x5 */
     tx-d-cal = <0x7>; 
};

&usbphy2 {
     /* Default 0x7 is nominal resistor trimming setting, SabreSD uses 0x5 */
     tx-d-cal = <0x7>;
};

/* Maybe explicitly disabling these unused blocks will lower power 
(I don’t know that I have all the names correct…)? */
&weim {
 	status = "disabled";
 };
&epdc {
 	status = "disabled";
 };
&pcie {
 	status = "disabled";
 };
&uart4 {
	status = "disabled";
};
&uart5 {
	status = "disabled";
};
&spdif {
	status = "disabled";
};
&gpmi {
	status = "disabled";
};
&usdhc1 {
	status = "disabled";
};
&usdhc3 {
	status = "disabled";
};

&usdhc2 {
	pinctrl-names = "default";
	pinctrl-0 = <&pinctrl_usdhc2>;
	bus-width = <4>;
	cd-gpios = <&gpio1 4 GPIO_ACTIVE_LOW>;
	wp-gpios = <&gpio1 2 GPIO_ACTIVE_HIGH>;
	no-1-8-v;
	keep-power-in-suspend;
	enable-sdio-wakeup;
	status = "okay";
};

&usdhc4 {
	pinctrl-names = "default";
	pinctrl-0 = <&pinctrl_usdhc4>;
	bus-width = <8>;
	non-removable;
	no-1-8-v;
	keep-power-in-suspend;
	status = "okay";
};

&wdog1 {
	pinctrl-names = "default";
	pinctrl-0 = <&pinctrl_wdog>;
        /* MJ: I think the driver needs to know whether to set the internal or external wdog_b */
	fsl,wdog_b; /* MJ: I think this enables the "software" reset aka "internal" reset wdog_b signal */
	/*fsl,ext-reset-output; *//* MJ: I think this enables the "external" reset pad wdog_b */
	status = "okay";
};

/* MJ: Comment out pinctrl too - I think wdog2 is for TZ only */
&wdog2 {
        /*pinctrl-names = "default";*/
	/*pinctrl-0 = <&pinctrl_wdog>;*/
	/*fsl,ext-reset-output; */ /* MJ: I think this enables the "external" reset pad wdog_b */
	status = "disabled";
};


